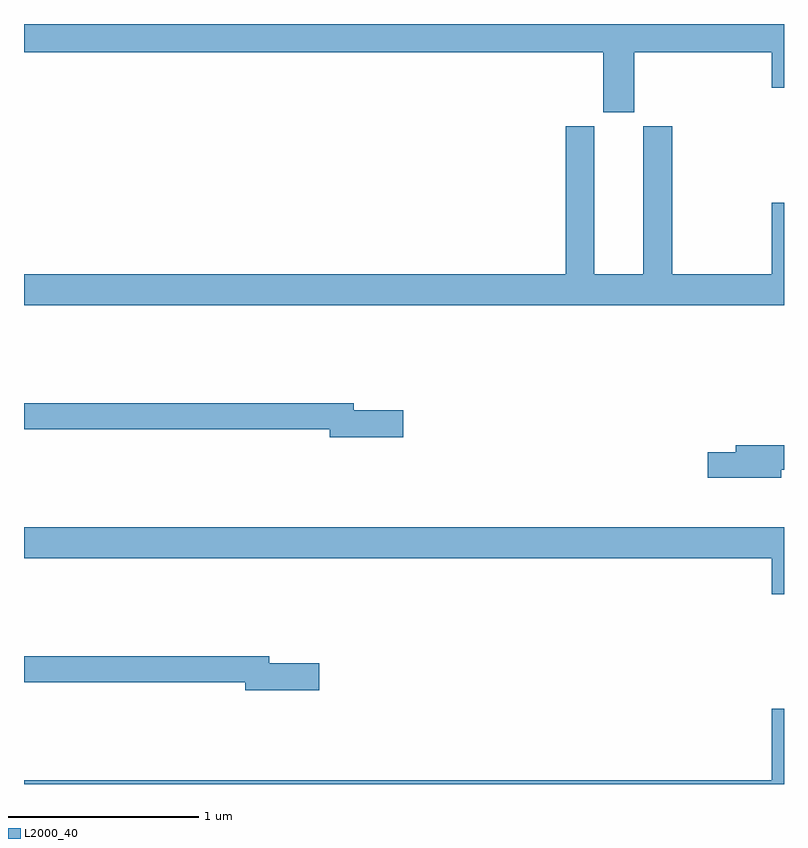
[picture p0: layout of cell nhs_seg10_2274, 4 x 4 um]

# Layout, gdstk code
import gdstk
lib = gdstk.Library(unit=1e-6, precision=1e-09)
def P(c, l, *ps):  # polygons
    for p in ps: c.add(gdstk.Polygon(p, *l))
L2000_40 = (2000, 40)

nhs_seg10_2274 = lib.new_cell('nhs_seg10_2274')
P(nhs_seg10_2274, L2000_40, [(236.212,1264.352),(236.936,1264.352),(236.936,1264.164),(237,1264.164),(237,1264.5),(233,1264.5),(233,1264.352),(236.048,1264.352),(236.048,1264.035),(236.212,1264.035)],
  [(237,1263.559),(236.936,1263.559),(236.936,1263.184),(236.411,1263.184),(236.411,1263.963),(236.258,1263.963),(236.258,1263.184),(236.002,1263.184),(236.002,1263.963),(235.85,1263.963),(235.85,1263.184),(233,1263.184),(233,1263.02),(237,1263.02)],
  [(234.997,1262.468),(234.736,1262.468),(234.736,1262.504),(233,1262.504),(233,1262.368),(234.608,1262.368),(234.608,1262.326),(234.997,1262.326)],
  [(236.986,1262.154),(237,1262.154),(237,1262.282),(236.747,1262.282),(236.747,1262.246),(236.598,1262.246),(236.598,1262.111),(236.986,1262.111)],
  [(237,1261.852),(233,1261.852),(233,1261.688),(236.936,1261.688),(236.936,1261.5),(237,1261.5)],
  [(234.553,1261.136),(234.292,1261.136),(234.292,1261.172),(233,1261.172),(233,1261.036),(234.164,1261.036),(234.164,1260.994),(234.553,1260.994)],
  [(237,1260.895),(236.936,1260.895),(236.936,1260.52),(233,1260.52),(233,1260.5),(237,1260.5)])

lib.write_gds('nhs_seg10_2274.gds')
